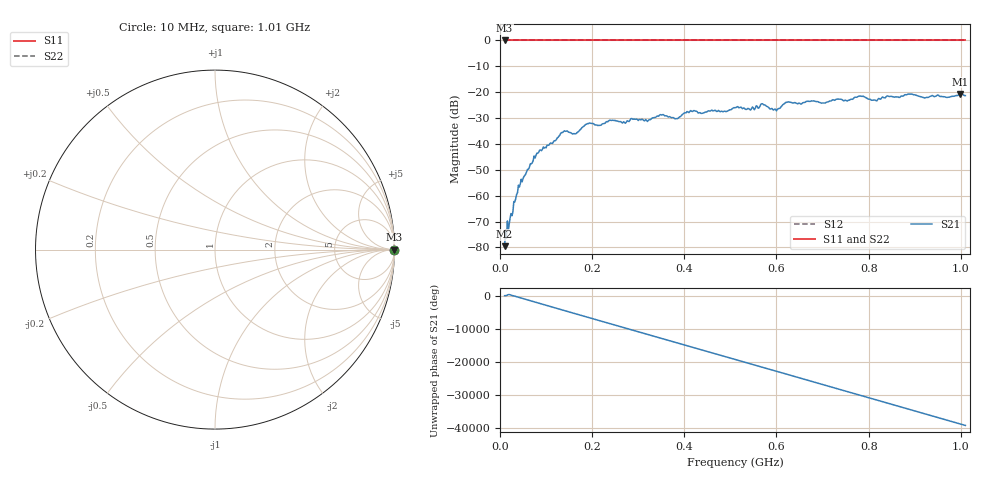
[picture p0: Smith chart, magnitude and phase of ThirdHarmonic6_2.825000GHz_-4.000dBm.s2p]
! 8/17/2025 7:29:51 AM
! C:\ANRITSUVNA\TEMP\TEMP.S2P
! CHANNEL.1
! TR.MEASUREMENT
! RAW.DATA
! RF.CORRECTION.OFF
! AVERAGING.OFF
! IF.BANDWIDTH: 5KHZ
! SWEEPTYPE:  FREQ.SWEEP(Linear)
! Reference Plane Port Info
! PORT:  PORT1  PORT2
! DISTANCE:  0  m  0  m
! TIME:  0  s  0  s
! PHASE.OFFSET:  0  deg.  0  deg.
! LOSS:  0  dB  0  dB
! REF.LOSS:  0  dB  0  dB
! REF.FREQ:  0  Hz  0  Hz
! Power Info
! POWER:  -20  dBm  -20  dBm
! EFF.POWER:  -20  dBm  -20  dBm
! SOURCE.ATTEN:  0  dB  0  dB
! TEST.ATTEN:  0  dB  0  dB
# GHZ S RI R 50.0
! FREQ.GHZ  S11RE  S11IM  S21RE  S21IM  S12RE  S12IM  S22RE  S22IM
!; PortSelection: Port_12
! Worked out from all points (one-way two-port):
!   501 points, 10 MHz to 1.01 GHz, reference 50 ohm
!   highest |S21| = -20.67 dB at 998 MHz (marker M1); lowest = -79.5 dB at 10 MHz (marker M2)
!   lowest |S11| = 0.0 dB at 10 MHz (marker M3)
!   |S11| at or under -10 dB: nowhere
!   |S22| runs from 0.0 to 0.0 dB; largest |S21 - S12| = 1.1
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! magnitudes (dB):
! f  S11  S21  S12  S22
! 10 MHz  0.0  -79.5  0.0  0.0
! 42 MHz  0.0  -56.7  0.0  0.0
! 78 MHz  0.0  -44.6  0.0  0.0
! 136 MHz  0.0  -35.6  0.0  0.0
! 162 MHz  0.0  -36.0  0.0  0.0
! 178 MHz  0.0  -33.7  0.0  0.0
! 194 MHz  0.0  -31.9  0.0  0.0
! 322 MHz  0.0  -30.9  0.0  0.0
! 344 MHz  0.0  -29.3  0.0  0.0
! 382 MHz  0.0  -30.2  0.0  0.0
! 416 MHz  0.0  -27.4  0.0  0.0
! 510 MHz  0.0  -26.0  0.0  0.0
! 540 MHz  0.0  -26.4  0.0  0.0
! 570 MHz  0.0  -24.5  0.0  0.0
! 598 MHz  0.0  -26.6  0.0  0.0
! 624 MHz  0.0  -23.8  0.0  0.0
! 678 MHz  0.0  -23.4  0.0  0.0
! 784 MHz  0.0  -21.6  0.0  0.0
! 814 MHz  0.0  -23.1  0.0  0.0
! 844 MHz  0.0  -21.7  0.0  0.0
! 998 MHz  0.0  -20.7  0.0  0.0
! 1.01 GHz  0.0  -21.3  0.0  0.0
